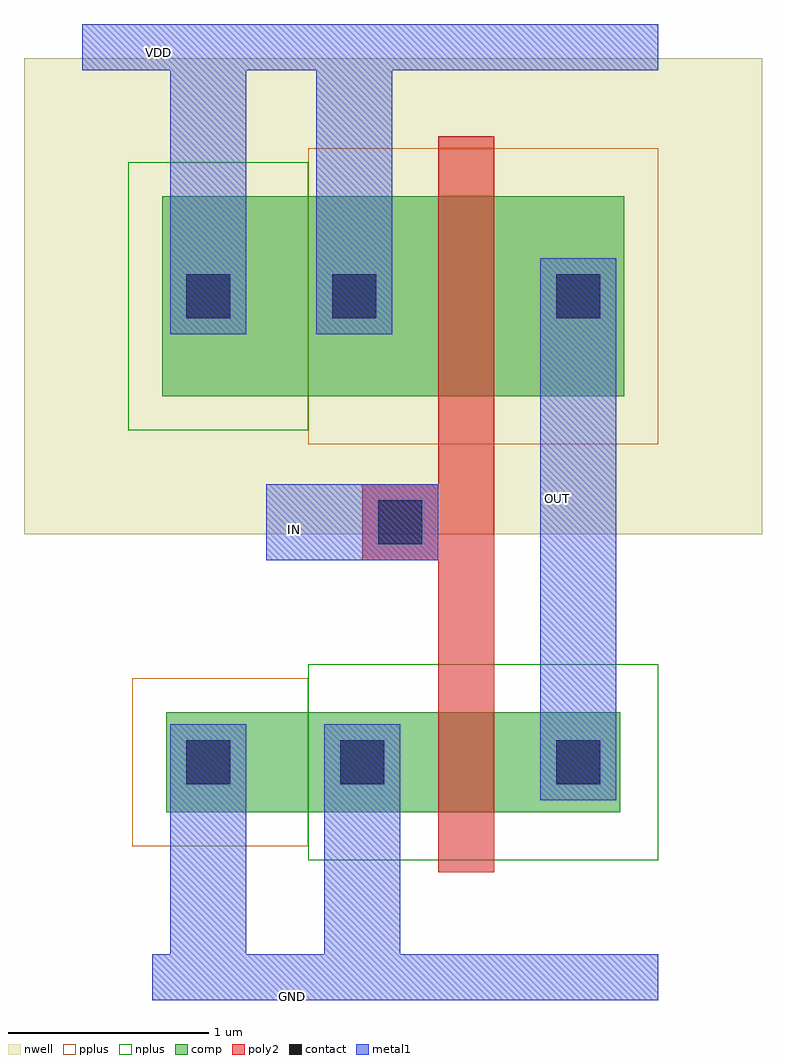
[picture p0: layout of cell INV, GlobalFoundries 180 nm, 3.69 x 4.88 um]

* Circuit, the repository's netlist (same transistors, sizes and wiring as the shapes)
** sch_path: /foss/designs/project/AND/INV.sch
.subckt INV OUT IN
*.PININFO IN:I OUT:O
M1 OUT IN VDD VDD pfet_03v3 L=0.28u W=1u nf=1 m=1
M2 OUT IN GND GND nfet_03v3 L=0.28u W=0.5u nf=1 m=1
.ends
.GLOBAL VDD
.GLOBAL GND

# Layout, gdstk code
import gdstk
lib = gdstk.Library(unit=1e-6, precision=5e-09)
def R(c, l, rs):  # rectangles x0, y0, x1, y1
    for r in rs: c.add(gdstk.rectangle(r[:2], r[2:], *l))
nwell = (21, 0)
comp = (22, 0)
poly2 = (30, 0)
pplus = (31, 0)
nplus = (32, 0)
contact = (33, 0)
metal1 = (34, 0)

inv = lib.new_cell('INV')
R(inv, nwell, [(2.16,0.945,5.85,3.325)])
R(inv, comp, [(2.87,-0.445,3.58,0.055), (3.58,-0.445,4.06,0.055), (4.06,-0.445,4.72,0.055), (4.72,-0.445,5.14,0.055), (2.85,1.635,3.58,2.635), (3.58,1.635,4.04,2.635), (4.04,1.635,4.7,2.635), (4.7,1.635,5.16,2.635)])
R(inv, poly2, [(4.23,-0.745,4.51,2.935), (3.85,0.815,4.23,1.195)])
R(inv, pplus, [(2.7,-0.615,3.58,0.225), (3.58,1.395,5.33,2.875)])
R(inv, nplus, [(3.58,-0.685,5.33,0.295), (2.68,1.465,3.58,2.805)])
R(inv, contact, [(2.97,-0.305,3.19,-0.085), (3.74,-0.305,3.96,-0.085), (4.82,-0.305,5.04,-0.085), (3.93,0.895,4.15,1.115), (2.97,2.025,3.19,2.245), (3.7,2.025,3.92,2.245), (4.82,2.025,5.04,2.245)])
R(inv, metal1, [(2.8,-1.385,5.33,-1.155), (2.89,-1.155,3.27,-0.385), (3.66,-1.155,4.04,-0.385), (2.89,-0.385,3.27,-0.005), (3.66,-0.385,4.04,-0.005), (4.74,-0.385,5.12,-0.005), (4.74,-0.005,5.12,1.945), (3.37,0.815,3.85,1.195), (3.85,0.815,4.23,1.195), (2.89,1.945,3.27,2.325), (3.62,1.945,4,2.325), (4.74,1.945,5.12,2.325), (2.89,2.325,3.27,3.265), (3.62,2.325,4,3.265), (2.45,3.265,5.33,3.495)])
inv.add(gdstk.Label('GND', (3.5,-1.365), layer=34, texttype=10))
inv.add(gdstk.Label('VDD', (2.83,3.355), layer=34, texttype=10))
inv.add(gdstk.Label('OUT', (4.825,1.125), layer=34, texttype=10))
inv.add(gdstk.Label('IN', (3.51,0.97), layer=34, texttype=10))

lib.write_gds('INV.gds')
